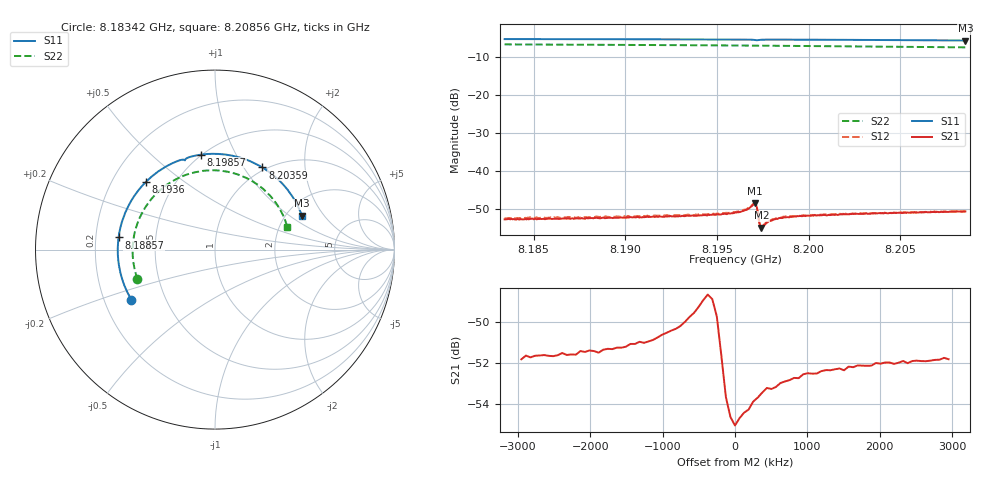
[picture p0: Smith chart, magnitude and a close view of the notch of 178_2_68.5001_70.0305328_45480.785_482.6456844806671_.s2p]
#  HZ  S  RI  R  50.00
! Rohde & Schwarz Vector Network Analyzer
! Rohde-Schwarz,ZNB20-2Port,1311601062101988,3.16
! Created: UTC 3/20/2024, 4:56:35 PM
! freq[Hz]  re:S11  im:S11  re:S21  im:S21  re:S12  im:S12  re:S22  im:S22
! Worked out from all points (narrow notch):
!   401 points, 8.18342 GHz to 8.20856 GHz, reference 50 ohm
!   highest |S21| = -48.64 dB at 8.19706 GHz (marker M1); lowest = -55.0 dB at 8.19743 GHz (marker M2)
!   notch at M2: 3.1 dB deep, 499 kHz wide at half that depth
!   lowest |S11| = -5.7 dB at 8.20856 GHz (marker M3), VSWR 3.17, Z = 121 + j62.8 ohm
!   |S11| at or under -10 dB: nowhere
!   |S22| runs from -7.5 to -6.7 dB; largest |S21 - S12| = 0.00021
!   S11 on the Smith chart (normalised r, x): 8.18342 GHz: 0.32, -0.25; 8.18857 GHz: 0.30, +0.06; 8.1936 GHz: 0.34, +0.37; 8.19857 GHz: 0.50, +0.73; 8.20359 GHz: 0.96, +1.22; 8.20856 GHz: 2.42, +1.26
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8.183416e9  -0.4664 -0.2783  0.000924 -0.00208  0.000917 -0.00214  -0.4322 -0.164
8.185617e9  -0.5248 -0.1373  0.000351 -0.00226  0.000301 -0.00236  -0.4577 -0.0446
8.187628e9  -0.5418 0.00171  -0.00023 -0.00236  -0.000319 -0.0024  -0.4528 0.0665
8.188571e9  -0.5374 0.0675  -0.000518 -0.0023  -0.000575 -0.00237  -0.4414 0.1174
8.190205e9  -0.5105 0.1786  -0.000998 -0.00219  -0.00108 -0.00224  -0.4079 0.2016
8.19184e9  -0.4608 0.2817  -0.00145 -0.002  -0.00155 -0.00201  -0.3581 0.2772
8.1936e9  -0.3838 0.3783  -0.00194 -0.00165  -0.00205 -0.00164  -0.2886 0.3461
8.195989e9  -0.2473 0.4767  -0.00258 -0.00109  -0.00266 -0.000969  -0.1733 0.4121
8.196554e9  -0.2098 0.4933  -0.00289 -0.000856  -0.00296 -0.00076  -0.1432 0.4225
8.197057e9  -0.172 0.5004  -0.00369 0.00017  -0.00371 0.000382  -0.1157 0.4298
8.19712e9  -0.1685 0.4986  -0.00353 0.000701  -0.00357 0.000833  -0.1123 0.4306
8.197372e9  -0.1627 0.5056  -0.00179 0.000487  -0.00178 0.000554  -0.0988 0.4336
8.197434e9  -0.1585 0.5084  -0.00176 0.000205  -0.00178 0.000257  -0.0953 0.4342
8.19756e9  -0.1494 0.5129  -0.0019 -5.96e-05  -0.00193 -1.13e-05  -0.0883 0.4356
8.197937e9  -0.1221 0.5209  -0.00216 -0.000267  -0.00222 -0.000132  -0.0673 0.4387
8.198566e9  -0.0775 0.529  -0.00237 -0.000124  -0.00243 -2.54e-05  -0.0318 0.4417
8.2002e9  0.0383 0.5316  -0.00253 0.000406  -0.00256 0.000533  0.0607 0.4353
8.201898e9  0.1557 0.5075  -0.00246 0.001  -0.00245 0.00111  0.1534 0.4086
8.203595e9  0.2646 0.4574  -0.00224 0.00157  -0.0022 0.00167  0.2387 0.3613
8.204412e9  0.3124 0.4248  -0.00206 0.00184  -0.002 0.00191  0.2754 0.3318
8.206549e9  0.4174 0.316  -0.00146 0.00242  -0.00141 0.00246  0.3553 0.236
8.208561e9  0.4841 0.1896  -0.000733 0.0028  -0.000677 0.00282  0.4028 0.1266
